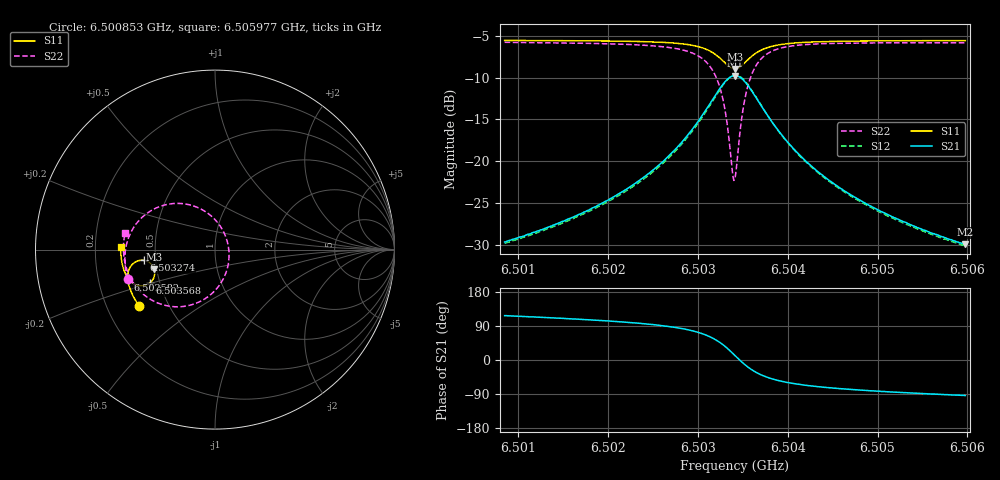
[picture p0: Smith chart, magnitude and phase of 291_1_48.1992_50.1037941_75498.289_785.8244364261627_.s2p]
#  HZ  S  RI  R  50.00
! Rohde & Schwarz Vector Network Analyzer
! Rohde-Schwarz,ZNB20-2Port,1311601062101988,3.16
! Created: UTC 3/20/2024, 11:49:04 AM
! freq[Hz]  re:S11  im:S11  re:S21  im:S21  re:S12  im:S12  re:S22  im:S22
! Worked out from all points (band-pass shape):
!   401 points, 6.500853 GHz to 6.505977 GHz, reference 50 ohm
!   highest |S21| = -9.76 dB at 6.503415 GHz (marker M1); lowest = -29.9 dB at 6.505977 GHz (marker M2)
!   |S21| within 3 dB of the highest: 6.503158 GHz to 6.50367 GHz (512.4 kHz wide, 0.00788 % of centre)
!   lowest |S11| = -9.0 dB at 6.503415 GHz (marker M3), VSWR 2.10, Z = 24.2 - j6.05 ohm
!   |S11| at or under -10 dB: nowhere
!   |S22| runs from -22.3 to -5.8 dB; largest |S21 - S12| = 0.011
!   S11 on the Smith chart (normalised r, x): 6.500853 GHz: 0.34, -0.30; 6.502582 GHz: 0.33, -0.15; 6.503274 GHz: 0.43, -0.06; 6.503568 GHz: 0.44, -0.20; 6.505977 GHz: 0.31, +0.01
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6.5008526e9  -0.4219 -0.3152  -0.0149 0.0293  -0.0133 0.0295  -0.4871 -0.1628
6.5017109e9  -0.4594 -0.2526  -0.0144 0.0467  -0.0121 0.0464  -0.5017 -0.0731
6.5021849e9  -0.4763 -0.2111  -0.0116 0.0659  -0.00864 0.0649  -0.4996 -0.0069
6.5025692e9  -0.4857 -0.1693  -0.00299 0.0949  0.000733 0.0926  -0.481 0.0681
6.502582e9  -0.4859 -0.1678  -0.00236 0.0963  0.00125 0.094  -0.4796 0.0711
6.5028254e9  -0.4852 -0.1326  0.016 0.1292  0.0196 0.1256  -0.4413 0.1404
6.5030048e9  -0.4737 -0.0994  0.0507 0.1654  0.0539 0.1599  -0.3729 0.2067
6.5031713e9  -0.439 -0.0664  0.128 0.1983  0.1294 0.192  -0.2307 0.2567
6.5032738e9  -0.3965 -0.0598  0.2131 0.1891  0.2134 0.184  -0.0828 0.2284
6.503325e9  -0.3711 -0.0686  0.261 0.1611  0.262 0.1565  -0.0031 0.1707
6.5033891e9  -0.3448 -0.0948  0.308 0.098  0.3105 0.093  0.0673 0.0491
6.5034147e9  -0.3387 -0.1092  0.3182 0.066  0.3211 0.0602  0.078 -0.0103
6.5034275e9  -0.3367 -0.1169  0.3205 0.0494  0.3239 0.0431  0.0783 -0.0404
6.5035044e9  -0.3429 -0.1612  0.3034 -0.044  0.3054 -0.0538  0.0206 -0.2038
6.5035684e9  -0.3639 -0.1867  0.2612 -0.0973  0.26 -0.1082  -0.0749 -0.285
6.5036709e9  -0.4029 -0.2015  0.1875 -0.1328  0.1823 -0.1421  -0.2228 -0.3184
6.5038374e9  -0.4485 -0.1917  0.1071 -0.1299  0.1002 -0.1348  -0.3676 -0.2722
6.5040168e9  -0.4756 -0.1704  0.0632 -0.1102  0.0571 -0.1124  -0.4388 -0.2082
6.504273e9  -0.4962 -0.1404  0.0336 -0.0863  0.0288 -0.0868  -0.4816 -0.1367
6.5046445e9  -0.5114 -0.102  0.0151 -0.0641  0.0118 -0.0638  -0.5034 -0.0643
6.5051313e9  -0.5211 -0.0574  0.00496 -0.0473  0.00281 -0.0466  -0.5099 0.00345
6.5059768e9  -0.5258 0.0139  -0.00207 -0.0318  -0.00337 -0.0309  -0.5017 0.0918
